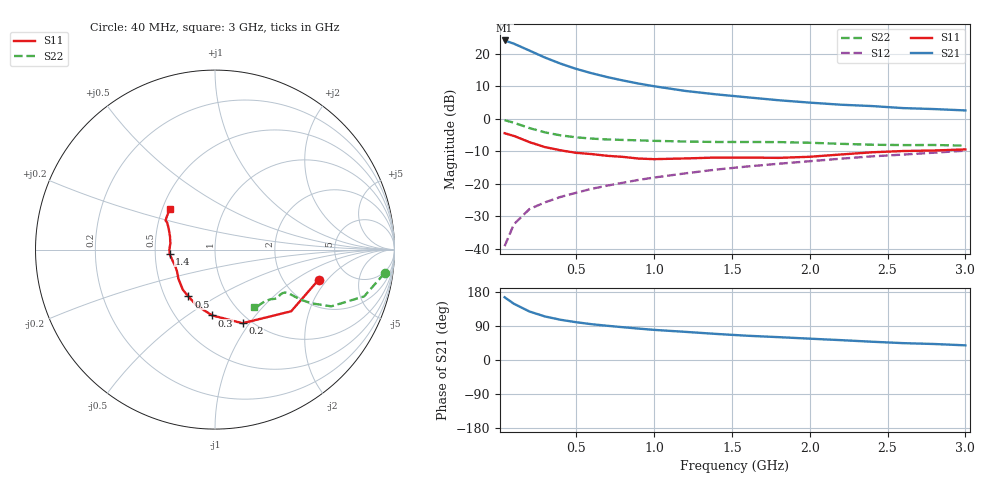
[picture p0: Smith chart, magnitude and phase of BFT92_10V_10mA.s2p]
! Filename:  BFT92H.S2P  Version:  2.0
! Philips part #: BFT92  Date: May 1990
! Bias condition: Vce=-10V, Ic=-10mA
#  MHz  S  MA  R  50
! Freq  S11  S21  S12  S22  !GUM [dB]
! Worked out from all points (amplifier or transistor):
!   21 points, 40 MHz to 3 GHz, reference 50 ohm
!   highest |S21| = 24.1 dB at 40 MHz (marker M1)
!   |S21| within 3 dB of that: start of sweep to 194.2 MHz
!   unconditionally stable (mu >= 1): 836.8 MHz to 2.557 GHz
!   at 300 MHz: K = 0.70, MSG = 22.3 dB, |S12| = -25.7 dB
!   at 1 GHz: K = 1.04, MAG = 12.9 dB, |S12| = -18.1 dB
!   at 3 GHz: K = 0.96, MSG = 6.2 dB, |S12| = -9.8 dB
!   S11 on the Smith chart (normalised r, x): 40 MHz: 3.08, -1.63; 200 MHz: 0.91, -0.93; 300 MHz: 0.74, -0.63; 500 MHz: 0.66, -0.38; 1.4 GHz: 0.60, -0.03; 3 GHz: 0.55, +0.28
40  0.601 -16.3  16.07 165.5  0.011 82.4  0.954 -7.9
100  0.546 -39.0  14.32 148.3  0.024 73.8  0.871 -17.4
200  0.438 -69.5  11.22 127.9  0.041 66.4  0.721 -26.0
300  0.367 -92.4  8.755 114.8  0.052 64.7  0.619 -29.0
400  0.328 -108.3  7.064 106.1  0.063 65.0  0.557 -30.2
500  0.3 -119.6  5.868 99.7  0.073 65.5  0.52 -30.5
600  0.287 -128.5  5.029 94.4  0.084 66.3  0.497 -30.6
700  0.27 -135.8  4.389 90.3  0.094 67.3  0.482 -30.7
800  0.26 -141.9  3.896 86.5  0.104 67.8  0.474 -30.9
900  0.245 -149.5  3.493 82.9  0.115 68.1  0.467 -31.1
1000  0.24 -156.2  3.176 79.5  0.125 68.2  0.459 -31.4
1200  0.246 -167.5  2.691 74.3  0.145 68.3  0.448 -32.7
1400  0.254 -175.0  2.38 68.8  0.166 68.2  0.441 -34.8
1600  0.254 179.8  2.144 64.0  0.185 67.7  0.441 -36.7
1800  0.251 172.3  1.934 60.3  0.204 67.7  0.439 -38.3
2000  0.261 163.8  1.777 56.3  0.223 67.1  0.429 -39.8
2200  0.283 155.7  1.65 52.4  0.244 66.5  0.413 -42.1
2400  0.306 150.5  1.573 48.2  0.265 65.6  0.4 -46.7
2600  0.32 149.4  1.464 44.5  0.282 64.8  0.395 -50.8
2800  0.326 145.2  1.414 42.2  0.302 64.6  0.396 -53.3
3000  0.339 138.1  1.348 38.7  0.324 63.7  0.387 -55.6
